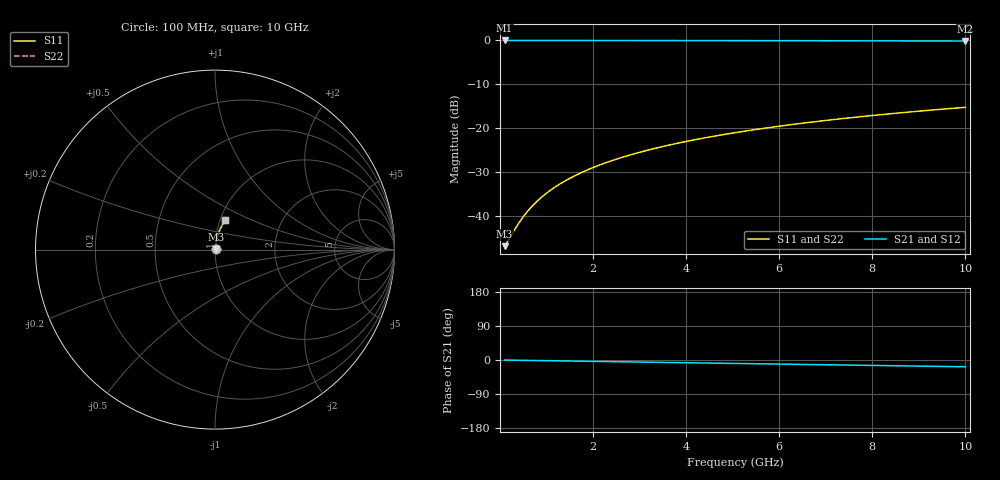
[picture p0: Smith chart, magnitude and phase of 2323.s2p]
# Hz S RI R 50.00
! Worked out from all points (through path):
!   100 points, 100 MHz to 10 GHz, reference 50 ohm
!   highest |S21| = -0.04 dB at 100 MHz (marker M1); lowest = -0.2 dB at 10 GHz (marker M2)
!   group delay of S21, straight-line fit = 4.96 ps
!   lowest |S11| = -46.9 dB at 100 MHz (marker M3), VSWR 1.01, Z = 50.4 + j0.177 ohm
!   |S11| at or under -10 dB: start of sweep to end of sweep
!   |S22| runs from -46.9 to -15.3 dB; largest |S21 - S12| = 0
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1e8  0.00418 0.00175  0.9958 -0.00313  0.9958 -0.00313  0.00418 0.00175
2e8  0.00422 0.00351  0.9958 -0.00625  0.9958 -0.00625  0.00422 0.00351
3e8  0.00427 0.00526  0.9957 -0.00937  0.9957 -0.00937  0.00427 0.00526
4e8  0.00433 0.00701  0.9957 -0.0125  0.9957 -0.0125  0.00433 0.00701
5e8  0.00439 0.00877  0.9956 -0.0156  0.9956 -0.0156  0.00439 0.00877
6e8  0.00446 0.0105  0.9955 -0.0187  0.9955 -0.0187  0.00446 0.0105
7e8  0.00454 0.0123  0.9954 -0.0219  0.9954 -0.0219  0.00454 0.0123
8e8  0.00464 0.014  0.9953 -0.025  0.9953 -0.025  0.00464 0.014
1e9  0.00485 0.0175  0.995 -0.0312  0.995 -0.0312  0.00485 0.0175
1.2e9  0.00511 0.021  0.9947 -0.0375  0.9947 -0.0375  0.00511 0.021
1.5e9  0.00557 0.0263  0.9942 -0.0468  0.9942 -0.0468  0.00557 0.0263
1.8e9  0.00614 0.0315  0.9935 -0.0562  0.9935 -0.0562  0.00614 0.0315
2.1e9  0.00679 0.0367  0.9928 -0.0655  0.9928 -0.0655  0.00679 0.0367
2.5e9  0.00782 0.0436  0.9916 -0.0779  0.9916 -0.0779  0.00782 0.0436
2.9e9  0.00902 0.0505  0.9901 -0.0903  0.9901 -0.0903  0.00902 0.0505
3.4e9  0.0108 0.0591  0.9881 -0.1058  0.9881 -0.1058  0.0108 0.0591
4.2e9  0.0141 0.0727  0.9842 -0.1303  0.9842 -0.1303  0.0141 0.0727
5.1e9  0.0186 0.0877  0.9788 -0.1577  0.9788 -0.1577  0.0186 0.0877
5.9e9  0.0234 0.1008  0.9732 -0.1819  0.9732 -0.1819  0.0234 0.1008
6.7e9  0.0288 0.1136  0.9669 -0.2057  0.9669 -0.2057  0.0288 0.1136
8.4e9  0.0422 0.1398  0.951 -0.2554  0.951 -0.2554  0.0422 0.1398
1e10  0.0572 0.1629  0.9331 -0.3006  0.9331 -0.3006  0.0572 0.1629
